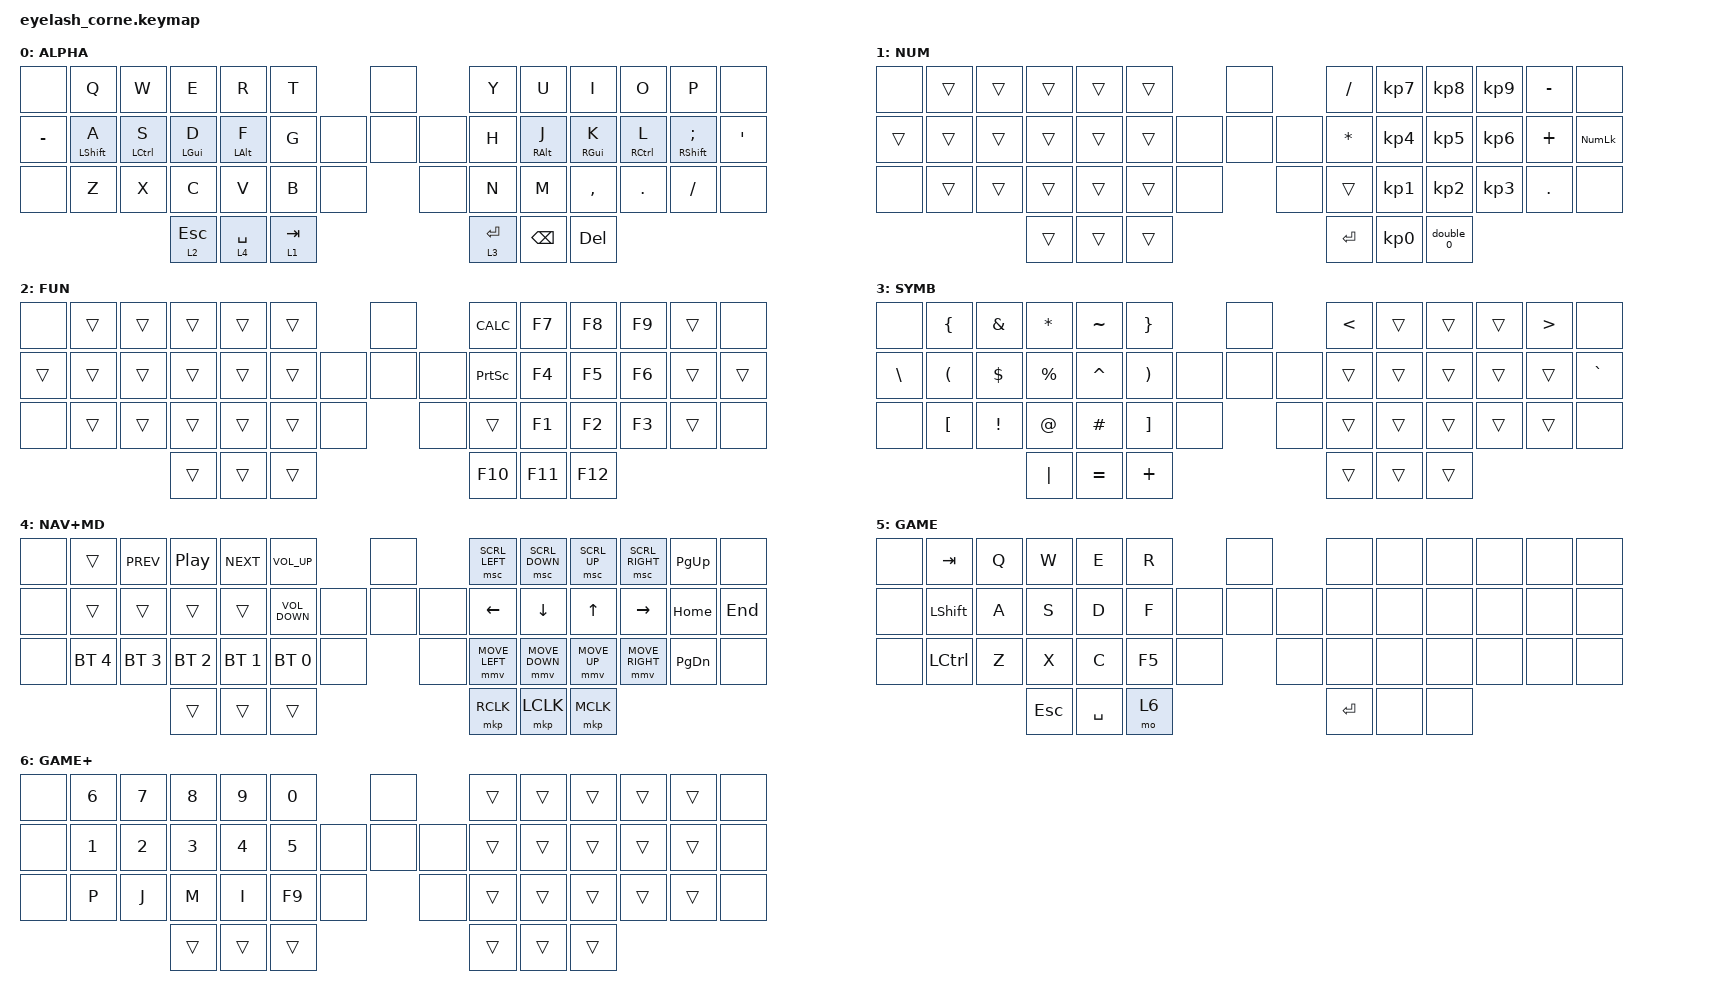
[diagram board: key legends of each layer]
#define ZMK_POINTING_DEFAULT_MOVE_VAL 1200  // 600
#define ZMK_POINTING_DEFAULT_SCRL_VAL 25   // 10

#include <input/processors.dtsi>
#include <zephyr/dt-bindings/input/input-event-codes.h>
#include <behaviors/runtime-sensor-rotate.dtsi>
#include <behaviors.dtsi>
#include <dt-bindings/zmk/bt.h>
#include <dt-bindings/zmk/keys.h>
#include <dt-bindings/zmk/pointing.h>

&soft_off { hold-time-ms = <2000>; };

&mt { flavor = "tap-preferred"; };

/ {
    combos {
        compatible = "zmk,combos";

        softoff {
            bindings = <&soft_off>;
            key-positions = <0 28>;
        };

        caps {
            bindings = <&kp CAPS>;
            key-positions = <14 26>;
        };

        game_mode_toggle {
            bindings = <&tog 5>;
            key-positions = <17 3 15>;
            timeout-ms = <2000>;
        };

        left_appendix {
            bindings = <&kp MINUS>;
            key-positions = <14 15 16>;
            layers = <0>;
        };

        right_appedix {
            bindings = <&kp SQT>;
            key-positions = <26 25 24>;
        };
    };

    macros {
        double_0: double_0 {
            compatible = "zmk,behavior-macro";
            #binding-cells = <0>;
            bindings = <&kp N0 &kp N0>;
            label = "DOUBLE_0";
        };
    };

    keymap {
        compatible = "zmk,keymap";

        default_layer {
            display-name = "ALPHA";
            bindings = <
&none      &kp Q             &kp W        &kp E           &kp R           &kp T                      &none         &kp Y        &kp U            &kp I            &kp O        &kp P                 &none
&kp MINUS  &mt LEFT_SHIFT A  &mt LCTRL S  &mt LEFT_GUI D  &mt LEFT_ALT F  &kp G               &none  &none  &none  &kp H        &mt RIGHT_ALT J  &mt RIGHT_GUI K  &mt RCTRL L  &mt RIGHT_SHIFT SEMI  &kp SQT
&none      &kp Z             &kp X        &kp C           &kp V           &kp B      &none           &none         &kp N        &kp M            &kp COMMA        &kp DOT      &kp FSLH              &none
                                          &lt 2 ESCAPE    &lt 4 SPACE     &lt 1 TAB                                &lt 3 ENTER  &kp BACKSPACE    &kp DELETE
            >;
        };

        Num {
            bindings = <
&none   &trans  &trans  &trans  &trans  &trans                  &none         &kp SLASH     &kp KP_NUMBER_7  &kp KP_NUMBER_8  &kp KP_NUMBER_9  &kp MINUS   &none
&trans  &trans  &trans  &trans  &trans  &trans           &none  &none  &none  &kp ASTERISK  &kp KP_NUMBER_4  &kp KP_NUMBER_5  &kp KP_NUMBER_6  &kp PLUS    &kp KP_NUMLOCK
&none   &trans  &trans  &trans  &trans  &trans  &none           &none         &trans        &kp KP_NUMBER_1  &kp KP_NUMBER_2  &kp KP_NUMBER_3  &kp PERIOD  &none
                        &trans  &trans  &trans                                &kp ENTER     &kp KP_NUMBER_0  &double_0
            >;

            label = "NUM";
        };

        func {
            bindings = <
&none   &trans  &trans  &trans  &trans  &trans                  &none         &kp K_CALC       &kp F7   &kp F8   &kp F9  &trans  &none
&trans  &trans  &trans  &trans  &trans  &trans           &none  &none  &none  &kp PRINTSCREEN  &kp F4   &kp F5   &kp F6  &trans  &trans
&none   &trans  &trans  &trans  &trans  &trans  &none           &none         &trans           &kp F1   &kp F2   &kp F3  &trans  &none
                        &trans  &trans  &trans                                &kp F10          &kp F11  &kp F12
            >;

            label = "FUN";
        };

        symb {
            bindings = <
&none          &kp LEFT_BRACE        &kp AMPERSAND    &kp ASTERISK  &kp TILDE  &kp RIGHT_BRACE                        &none         &kp LESS_THAN  &trans  &trans  &trans  &kp GREATER_THAN  &none
&kp BACKSLASH  &kp LEFT_PARENTHESIS  &kp DOLLAR       &kp PERCENT   &kp CARET  &kp RIGHT_PARENTHESIS           &none  &none  &none  &trans         &trans  &trans  &trans  &trans            &kp GRAVE
&none          &kp LEFT_BRACKET      &kp EXCLAMATION  &kp AT_SIGN   &kp POUND  &kp RIGHT_BRACKET      &none           &none         &trans         &trans  &trans  &trans  &trans            &none
                                                      &kp PIPE      &kp EQUAL  &kp PLUS                                             &trans         &trans  &trans
            >;

            label = "SYMB";
        };

        nav_md_ms {
            bindings = <
&none  &trans        &kp C_PREV    &kp C_PP      &kp C_NEXT    &kp C_VOLUME_UP                    &none         &msc SCRL_LEFT  &msc SCRL_DOWN  &msc SCRL_UP  &msc SCRL_RIGHT  &kp PAGE_UP    &none
&none  &trans        &trans        &trans        &trans        &kp C_VOLUME_DOWN           &none  &none  &none  &kp LEFT        &kp DOWN        &kp UP_ARROW  &kp RIGHT        &kp HOME       &kp END
&none  &bt BT_SEL 4  &bt BT_SEL 3  &bt BT_SEL 2  &bt BT_SEL 1  &bt BT_SEL 0       &none           &none         &mmv MOVE_LEFT  &mmv MOVE_DOWN  &mmv MOVE_UP  &mmv MOVE_RIGHT  &kp PAGE_DOWN  &none
                                   &trans        &trans        &trans                                           &mkp RCLK       &mkp LCLK       &mkp MCLK
            >;

            label = "NAV+MD";
        };

        game_mode {
            bindings = <
&none  &kp TAB         &kp Q  &kp W       &kp E      &kp R                   &none         &none      &none  &none  &none  &none  &none
&none  &kp LEFT_SHIFT  &kp A  &kp S       &kp D      &kp F            &none  &none  &none  &none      &none  &none  &none  &none  &none
&none  &kp LCTRL       &kp Z  &kp X       &kp C      &kp F5  &none           &none         &none      &none  &none  &none  &none  &none
                              &kp ESCAPE  &kp SPACE  &mo 6                                 &kp ENTER  &none  &none
            >;

            label = "GAME";
        };

        game_mode_2 {
            bindings = <
&none  &kp NUMBER_6  &kp NUMBER_7  &kp N8        &kp N9        &kp N0                        &none         &trans  &trans  &trans  &trans  &trans  &none
&none  &kp NUMBER_1  &kp NUMBER_2  &kp NUMBER_3  &kp NUMBER_4  &kp NUMBER_5           &none  &none  &none  &trans  &trans  &trans  &trans  &trans  &none
&none  &kp P         &kp J         &kp M         &kp I         &kp F9        &none           &none         &trans  &trans  &trans  &trans  &trans  &none
                                   &trans        &trans        &trans                                      &trans  &trans  &trans
            >;

            label = "GAME+";
        };
    };
};
